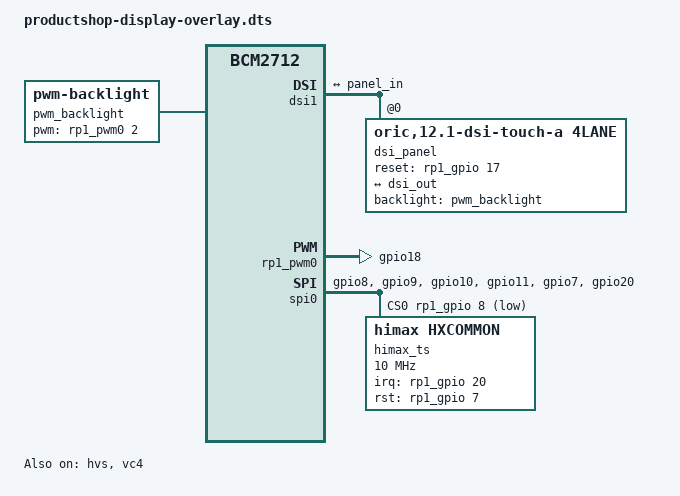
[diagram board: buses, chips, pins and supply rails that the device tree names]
/dts-v1/;
/plugin/;

/{
    compatible = "brcm,bcm2712";

        // --- FRAGMENT@0: DSI Panel ---
    dsi_frag: fragment@0 {
        target = <&dsi1>;
        __overlay__ {
            #address-cells = <1>;
            #size-cells = <0>;
            status = "okay";
            port {
                dsi_out: endpoint { remote-endpoint = <&panel_in>; };
            };
            dsi_panel: dsi_panel@0 {
                reg = <0>;
                compatible = "oric,12.1-dsi-touch-a,4lane";
                rotation = <270>;
                // LCD reset: active-high (working configuration for ProductShop display)
                reset-gpios = <&rp1_gpio 17 0>;  // GPIO17 for LCD_RESET, GPIO_ACTIVE_HIGH
                // Link to PWM backlight for brightness control
                backlight = <&pwm_backlight>;
                pinctrl-names = "default";
                pinctrl-0 = <&lcd_reset_pins>;
                status = "okay";
                port {
                    panel_in: endpoint { remote-endpoint = <&dsi_out>; };
                };
            };
        };
    };

    // Free GPIO7 from SPI CS1 usage - removed duplicate configuration

    // GPIO Pin Configuration
    fragment@3 {
        target = <&rp1_gpio>;
        __overlay__ {
            // Display GPIO pins
            lcd_reset_pins: lcd_reset_pins {
                pins = "gpio17";      // GPIO17 (LCD_RESET) 
                function = "gpio";    // GPIO function
                bias-pull-up;         // Pull-up to keep display out of reset
                output-high;          // Ensure LCD reset is high after setup
            };
            
            pwm_pins: pwm_pins {
                pins = "gpio18";
                function = "pwm0";
            };
            
            // SPI0 data pins configuration (MISO, MOSI, SCLK)
            spi0_data_pins: spi0_data_pins {
                pins = "gpio9", "gpio10", "gpio11";  // MISO, MOSI, SCLK
                function = "spi0";                    // SPI0 function
            };

            // Touch GPIO pins - use consistent rp1_gpio syntax
            touch_irq_pins: touch_irq_pins {
                pins = "gpio20";          // Touch interrupt GPIO20
                function = "gpio";        // GPIO function
                bias-pull-up;             // Pull-up
            };
            
            touch_reset_pins: touch_reset_pins {
                pins = "gpio7";           // Touch reset GPIO7 (LCD_TOUCH_RST per ProductShop spec)
                function = "gpio";        // GPIO function
                bias-pull-up;             // Pull high initially - touch controller out of reset
                output-high;              // Set initial state to high
            };
        };
    };

    // PWM Configuration for Backlight
    fragment@4 {
        target = <&rp1_pwm0>;
        __overlay__ {
            pinctrl-names = "default";
            pinctrl-0 = <&pwm_pins>;
            status = "okay";
        };
    };

    // Backlight Device
    fragment@6 {
        target-path = "/";
        __overlay__ {
            pwm_backlight: backlight {
                compatible = "pwm-backlight";
                pwms = <&rp1_pwm0 2 25000 0>;
                brightness-levels = <0 4 8 16 32 48 64 96 128 160 192 224 240 255>;
                default-brightness-level = <10>;
                status = "okay";
            };
        };
    };

    // ✅ NEW: Disable HDMI outputs to force DSI as primary display
    fragment@7 {
        target = <&hdmi0>;
        __overlay__ {
            status = "disabled";
        };
    };

    fragment@7a {
        target = <&hdmi1>;
        __overlay__ {
            status = "disabled";
        };
    };

    // ✅ ENABLE HVS: Hardware Video Scaler needed for video pipeline
    fragment@7b {
        target = <&hvs>;
        __overlay__ {
            status = "okay";
        };
    };

    // ✅ ENABLE VC4 DRM: Main display driver needed for complete pipeline  
    fragment@7c {
        target = <&vc4>;
        __overlay__ {
            status = "okay";
        };
    };

    // Disable power button to free GPIO20 for touch interrupt
    fragment@8 {
        target-path = "/pwr_button";
        __overlay__ {
            status = "disabled";
        };
    };

    // SPI0 CS Pin Configuration (GPIO8) 
    spi_cs_frag: fragment@9 {
        target = <&rp1_gpio>;
        __overlay__ {
            spi0_cs_pins: spi0_cs_pins {
                pins = "gpio8";
                function = "spi0";
            };
        };
    };

    // SPI Touch Device Configuration - Use SPI0 with proper GPIO configuration
    fragment@9a {
        target = <&spi0>;
        __overlay__ {
            #address-cells = <1>;
            #size-cells = <0>;
            cs-gpios = <&rp1_gpio 8 1>;
            status = "okay";
            // Configure all SPI pins and touch GPIO pins
            pinctrl-names = "default";
            pinctrl-0 = <&spi0_cs_pins>, <&spi0_data_pins>, <&touch_reset_pins>, <&touch_irq_pins>;
            
            himax_ts: himax_ts@0 {
                compatible = "himax,hxcommon";
                reg = <0>;  // Use chipselect 0
                spi-max-frequency = <10000000>; // 10MHz - Himax documented requirement
                // Raw module ranges; exclusive upper bounds
                himax,panel-coords   = <0 1200 0 2000>;
                // Logical screen size (width, height); driver uses [1] and [3]
                himax,display-coords = <0 1200 0 2000>;
                // Request X/Y axis swap in driver
                himax,swap-xy;
                // Invert X axis coordinates
                himax,invert-x;
                himax,irq-gpio = <&rp1_gpio 20 0x2008>;
                himax,rst-gpio = <&rp1_gpio 7 0x00>; 
                interrupt-parent = <&rp1_gpio>;
                interrupts = <20 0x2008>;
                report_type = <1>;
                /* Reference LCD panel to ensure touch waits for display */
                display-parent = <&dsi_panel>;
                /* Skip hardware reset during probe - controller already initialized */
                himax,skip-hw-reset;
                status = "okay";
            };
        };
    };

    // Disable conflicting spidev device on SPI0 controller  
    spidev_fragment: fragment@10 {
        target = <&spi0>;
        __overlay__ {
            spidev@0 {
                status = "disabled";
            };
        };
    };

    // Add no_miso support for SPI0 data pins (optional MISO line)
    fragment@11 {
        target = <&spi0_pins>;
        __dormant__ {
            brcm,pins = <10 11>;  // Only MOSI and SCLK if no MISO needed
        };
    };

    __overrides__ {
        // DSI overrides - allow switching between DSI0 and DSI1
        dsi0 = <&dsi_frag>, "target:0=",<&dsi0>;
        dsi1 = <&dsi_frag>, "target:0=",<&dsi1>;
        // SPI overrides - CS pin and MISO control  
        cs0_pin = <&spi_cs_frag>, "brcm,pins:0";
        no_miso = <0>, "=11";
    };
};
